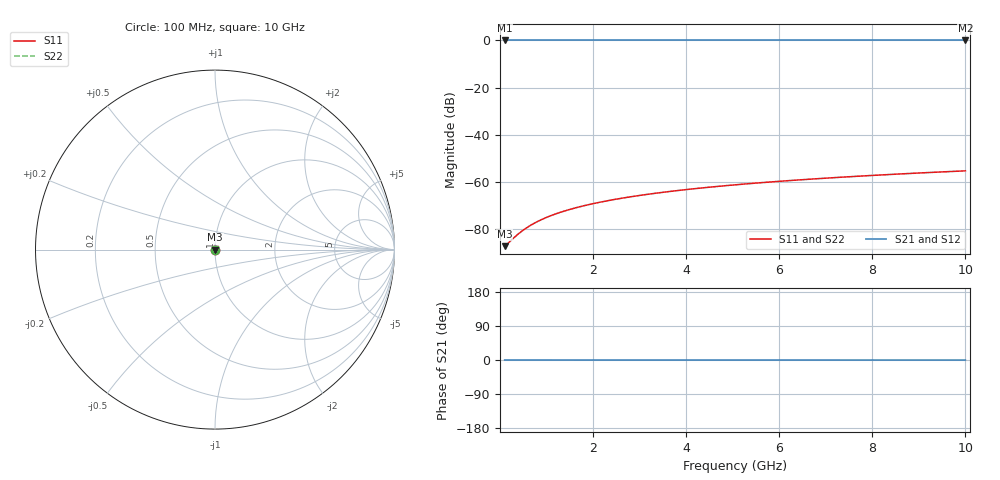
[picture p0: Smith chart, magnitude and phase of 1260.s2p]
# Hz S RI R 50.00
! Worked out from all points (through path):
!   100 points, 100 MHz to 10 GHz, reference 50 ohm
!   highest |S21| = 0.00 dB at 100 MHz (marker M1); lowest = 0.0 dB at 10 GHz (marker M2)
!   lowest |S11| = -87.4 dB at 100 MHz (marker M3), VSWR 1.00, Z = 50 + j0.0017 ohm
!   |S11| at or under -10 dB: start of sweep to end of sweep
!   |S22| runs from -87.4 to -55.4 dB; largest |S21 - S12| = 1e-16
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1e8  3.93e-05 1.7e-05  1 -3.49e-05  1 -3.49e-05  3.93e-05 1.7e-05
5e8  4e-05 8.48e-05  1 -0.000174  1 -0.000174  4e-05 8.48e-05
6e8  4.01e-05 0.000102  1 -0.000209  1 -0.000209  4.01e-05 0.000102
7e8  4.02e-05 0.000119  1 -0.000244  1 -0.000244  4.02e-05 0.000119
8e8  4.03e-05 0.000136  1 -0.000279  1 -0.000279  4.03e-05 0.000136
9e8  4.04e-05 0.000153  1 -0.000314  1 -0.000314  4.04e-05 0.000153
1.1e9  4.06e-05 0.000187  1 -0.000384  1 -0.000384  4.06e-05 0.000187
1.2e9  4.07e-05 0.000204  1 -0.000419  1 -0.000419  4.07e-05 0.000204
1.4e9  4.08e-05 0.000237  1 -0.000489  1 -0.000489  4.08e-05 0.000237
1.6e9  4.1e-05 0.000271  1 -0.000558  1 -0.000558  4.1e-05 0.000271
1.8e9  4.11e-05 0.000305  1 -0.000628  1 -0.000628  4.11e-05 0.000305
2.1e9  4.14e-05 0.000356  1 -0.000733  1 -0.000733  4.14e-05 0.000356
2.5e9  4.17e-05 0.000424  1 -0.000873  1 -0.000873  4.17e-05 0.000424
2.9e9  4.19e-05 0.000492  1 -0.00101  1 -0.00101  4.19e-05 0.000492
3.4e9  4.23e-05 0.000577  1 -0.00119  1 -0.00119  4.23e-05 0.000577
4.2e9  4.3e-05 0.000713  1 -0.00147  1 -0.00147  4.3e-05 0.000713
5.1e9  4.38e-05 0.000866  1 -0.00178  1 -0.00178  4.38e-05 0.000866
5.9e9  4.46e-05 0.001  1 -0.00206  1 -0.00206  4.46e-05 0.001
6.7e9  4.54e-05 0.00114  1 -0.00234  1 -0.00234  4.54e-05 0.00114
7.5e9  4.64e-05 0.00127  1 -0.00262  1 -0.00262  4.64e-05 0.00127
8.4e9  4.75e-05 0.00143  0.9999 -0.00294  0.9999 -0.00294  4.75e-05 0.00143
1e10  4.98e-05 0.0017  0.9999 -0.0035  0.9999 -0.0035  4.98e-05 0.0017
